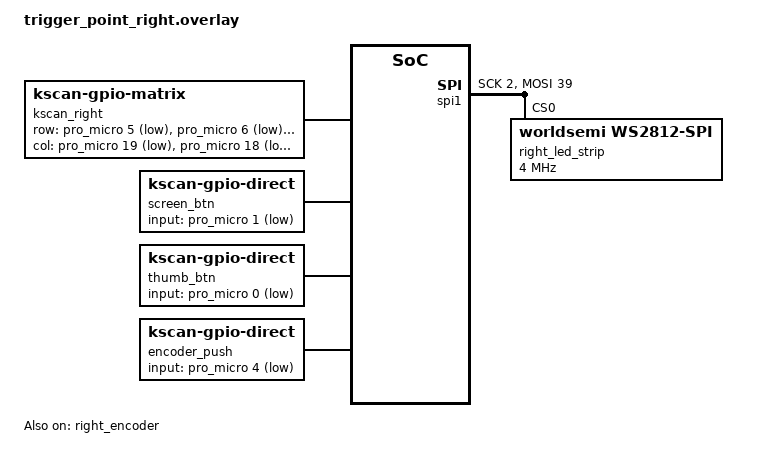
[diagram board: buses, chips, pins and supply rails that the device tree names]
#include <dt-bindings/gpio/gpio.h>
#include "trigger_point.dtsi"
#include <zephyr/dt-bindings/led/led.h>


/ {
	chosen {
		zmk,kscan = &kscan0;
        zmk,matrix-transform = &default_transform;
        zephyr,display = &ssd1306;
		mk,underglow = &right_led_strip;
	};

	kscan_right: kscan_right {
		compatible = "zmk,kscan-gpio-matrix";
		wakeup-source;
		diode-direction = "col2row";

		row-gpios = <&pro_micro 5 (GPIO_ACTIVE_LOW | GPIO_PULL_UP)>,
		            <&pro_micro 6 (GPIO_ACTIVE_LOW | GPIO_PULL_UP)>,
		            <&pro_micro 7 (GPIO_ACTIVE_LOW | GPIO_PULL_UP)>,
		            <&pro_micro 8 (GPIO_ACTIVE_LOW | GPIO_PULL_UP)>,
		            <&pro_micro 9 (GPIO_ACTIVE_LOW | GPIO_PULL_UP)>;

		col-gpios = <&pro_micro 19 GPIO_ACTIVE_LOW>,
		            <&pro_micro 18 GPIO_ACTIVE_LOW>,
		            <&pro_micro 15 GPIO_ACTIVE_LOW>,
		            <&pro_micro 14 GPIO_ACTIVE_LOW>,
		            <&pro_micro 16 GPIO_ACTIVE_LOW>,
                    <&pro_micro 10 GPIO_ACTIVE_LOW>;
	};

	/* Three direct keys for column 6 at rows 0,3,4 */
	screen_btn: screen_btn {
		compatible = "zmk,kscan-gpio-direct";
		input-gpios = <&pro_micro 1 (GPIO_ACTIVE_LOW | GPIO_PULL_UP)>;
	};

	thumb_btn: thumb_btn {
		compatible = "zmk,kscan-gpio-direct";
		input-gpios = <&pro_micro 0 (GPIO_ACTIVE_LOW | GPIO_PULL_UP)>;
	};

	encoder_push: encoder_push {
		compatible = "zmk,kscan-gpio-direct";
		input-gpios = <&pro_micro 4 (GPIO_ACTIVE_LOW | GPIO_PULL_UP)>;
	};

	/* Composite scanner exposes one 5x14 matrix to match your keymap width */
	kscan0: kscan_composite {
		compatible = "zmk,kscan-composite";
		rows = <5>;
		columns = <14>;
		wakeup-source;

		right          { kscan = <&kscan_right>; row-offset = <0>; col-offset = <8>; };
		screen         { kscan = <&screen_btn>;   row-offset = <0>; col-offset = <7>; };
		thumb          { kscan = <&thumb_btn>;   row-offset = <3>; col-offset = <7>; };
		encoder_push   { kscan = <&encoder_push>;   row-offset = <4>; col-offset = <7>; };
		
	};

};

&right_encoder {
	status = "okay";
};

/* Right half underglow on P1.07 */
&spi1 {
    status = "okay";
    mosi-pin = <39>;  /* same physical pin, different MCU */
    sck-pin  = <2>;
    right_led_strip: ws2812@0 {
        compatible = "worldsemi,ws2812-spi";
        reg = <0>;
        spi-max-frequency = <4000000>;
        spi-cpha;
        spi-cpol;
        color-mapping = <LED_COLOR_ID_GREEN LED_COLOR_ID_RED LED_COLOR_ID_BLUE>;
        chain-length = <1>;
        status = "okay";
    };
};
